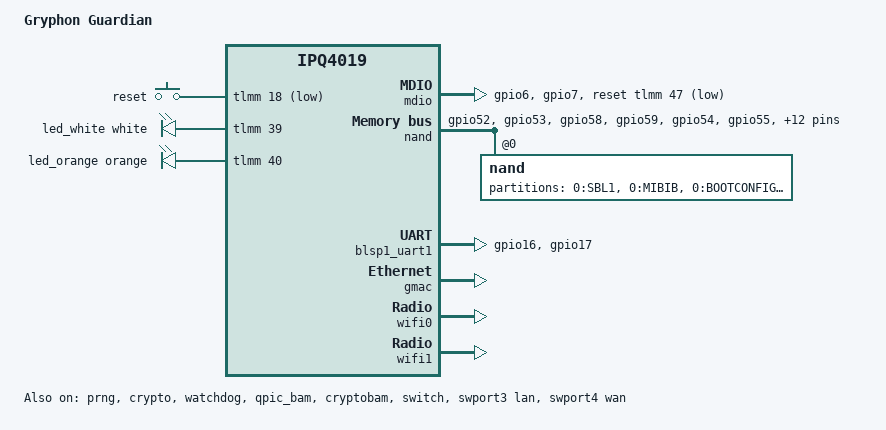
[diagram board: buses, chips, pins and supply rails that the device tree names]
// SPDX-License-Identifier: GPL-2.0-or-later OR MIT

#include "qcom-ipq4019.dtsi"
#include <dt-bindings/gpio/gpio.h>
#include <dt-bindings/input/input.h>
#include <dt-bindings/soc/qcom,tcsr.h>
#include <dt-bindings/leds/common.h>

/ {
	model = "Gryphon Guardian";
	compatible = "gryphon,guardian", "qcom,ipq4019";

	aliases {
		led-boot = &led_white;
		led-failsafe = &led_orange;
		led-running = &led_white;
		led-upgrade = &led_orange;
	};

	chosen {
		stdout-path = "serial0:115200n8";
	};

	keys {
		compatible = "gpio-keys";

		reset {
			label = "reset";
			gpios = <&tlmm 18 GPIO_ACTIVE_LOW>;
			linux,code = <KEY_RESTART>;
		};
	};

	leds {
		compatible = "gpio-leds";

		led_white: white {
			function = LED_FUNCTION_STATUS;
			color = <LED_COLOR_ID_WHITE>;
			gpios = <&tlmm 39 GPIO_ACTIVE_HIGH>;
		};

		led_orange: orange {
			function = LED_FUNCTION_STATUS;
			color = <LED_COLOR_ID_ORANGE>;
			gpios = <&tlmm 40 GPIO_ACTIVE_HIGH>;
		};
	};

	soc {

		tcsr@1949000 {
			compatible = "qcom,tcsr";
			reg = <0x1949000 0x100>;
			qcom,wifi_glb_cfg = <TCSR_WIFI_GLB_CFG>;
		};

		ess_tcsr@1953000 {
			compatible = "qcom,tcsr";
			reg = <0x1953000 0x1000>;
			qcom,ess-interface-select = <TCSR_ESS_PSGMII>;
		};

		tcsr@1957000 {
			compatible = "qcom,tcsr";
			reg = <0x1957000 0x100>;
			qcom,wifi_noc_memtype_m0_m2 = <TCSR_WIFI_NOC_MEMTYPE_M0_M2>;
		};
	};
};

&prng {
	status = "okay";
};

&mdio {
	status = "okay";
	pinctrl-0 = <&mdio_pins>;
	pinctrl-names = "default";
	reset-delay-us = <2000>;
	reset-post-delay-us = <2000>;
	reset-gpios = <&tlmm 47 GPIO_ACTIVE_LOW>;
};

&crypto {
	status = "okay";
};

&watchdog {
	status = "okay";
};

&blsp_dma {
	status = "okay";
};

&qpic_bam {
	status = "okay";
};

&tlmm {
	mdio_pins: mdio-pinmux {
		mux_mdio {
			pins = "gpio6";
			function = "mdio";
			bias-pull-up;
		};

		mux_mdc {
			pins = "gpio7";
			function = "mdc";
			bias-pull-up;
		};
	};

	serial_pins: serial-pinmux {
		function = "blsp_uart0";
		pins = "gpio16", "gpio17";
		bias-disable;
	};

	nand_pins: nand-pins {
		pullups {
			pins = "gpio52", "gpio53", "gpio58", "gpio59";
			function = "qpic";
			bias-pull-up;
		};

		pulldowns {
			pins =	"gpio54", "gpio55", "gpio56",
				"gpio57", "gpio60", "gpio61",
				"gpio62", "gpio63", "gpio64",
				"gpio65", "gpio66", "gpio67",
				"gpio68", "gpio69";
			function = "qpic";
			bias-pull-down;
		};
	};
};

&nand {
	pinctrl-0 = <&nand_pins>;
	pinctrl-names = "default";
	status = "okay";

	nand@0 {
		partitions {
			compatible = "fixed-partitions";
			#address-cells = <1>;
			#size-cells = <1>;

			partition@0 {
				label = "0:SBL1";
				reg = <0x00000000 0x00200000>;
				read-only;
			};

			partition@200000 {
				label = "0:MIBIB";
				reg = <0x00200000 0x00200000>;
				read-only;
			};

			partition@400000 {
				label = "0:BOOTCONFIG";
				reg = <0x00400000 0x00200000>;
				read-only;
			};

			partition@600000 {
				label = "0:QSEE";
				reg = <0x00600000 0x00200000>;
				read-only;
			};

			partition@800000 {
				label = "0:QSEE_1";
				reg = <0x00800000 0x00200000>;
				read-only;
			};

			partition@a00000 {
				label = "0:CDT";
				reg = <0x00a00000 0x00100000>;
				read-only;
			};

			partition@b00000 {
				label = "0:CDT_1";
				reg = <0x00b00000 0x00100000>;
				read-only;
			};

			partition@c00000 {
				label = "0:BOOTCONFIG1";
				reg = <0x00c00000 0x00100000>;
				read-only;
			};

			partition@d00000 {
				label = "0:APPSBLENV";
				reg = <0x00d00000 0x00100000>;
			};

			partition@e00000 {
				label = "0:APPSBL";
				reg = <0x00e00000 0x00300000>;
				read-only;
			};

			partition@1100000 {
				label = "0:APPSBL_1";
				reg = <0x01100000 0x00200000>;
				read-only;
			};

			partition@1300000 {
				label = "0:ART";
				reg = <0x01300000 0x00100000>;
				read-only;

				nvmem-layout {
					compatible = "fixed-layout";
					#address-cells = <1>;
					#size-cells = <1>;

					macaddr_gmac0: macaddr@0 {
						compatible = "mac-base";
						reg = <0x0 0x6>;
						#nvmem-cell-cells = <1>;
					};

					precal_art_1000: precal@1000 {
						reg = <0x1000 0x2f20>;
					};

					precal_art_5000: precal@5000 {
						reg = <0x5000 0x2f20>;
					};
				};
			};

			partition@1400000 {
				label = "rootfs";
				reg = <0x01400000 0x1ec00000>;
			};
		};
	};
};

&blsp1_uart1 {
	status = "okay";
	pinctrl-0 = <&serial_pins>;
	pinctrl-names = "default";
};

&cryptobam {
	status = "okay";
};

&gmac {
	status = "okay";
	nvmem-cells = <&macaddr_gmac0 0>;
	nvmem-cell-names = "mac-address";
};

&switch {
	status = "okay";
};

&swport3 {
	status = "okay";
	label = "lan";
	nvmem-cells = <&macaddr_gmac0 1>;
	nvmem-cell-names = "mac-address";
};

&swport4 {
	status = "okay";
	label = "wan";
	nvmem-cells = <&macaddr_gmac0 0>;
	nvmem-cell-names = "mac-address";
};

&wifi0 {
	status = "okay";
	nvmem-cell-names = "pre-calibration", "mac-address";
	nvmem-cells = <&precal_art_1000>, <&macaddr_gmac0 2>;
	qcom,ath10k-calibration-variant = "Gryphon-Guardian";
};

&wifi1 {
	status = "okay";
	nvmem-cell-names = "pre-calibration", "mac-address";
	nvmem-cells = <&precal_art_5000>, <&macaddr_gmac0 3>;
	qcom,ath10k-calibration-variant = "Gryphon-Guardian";
};
